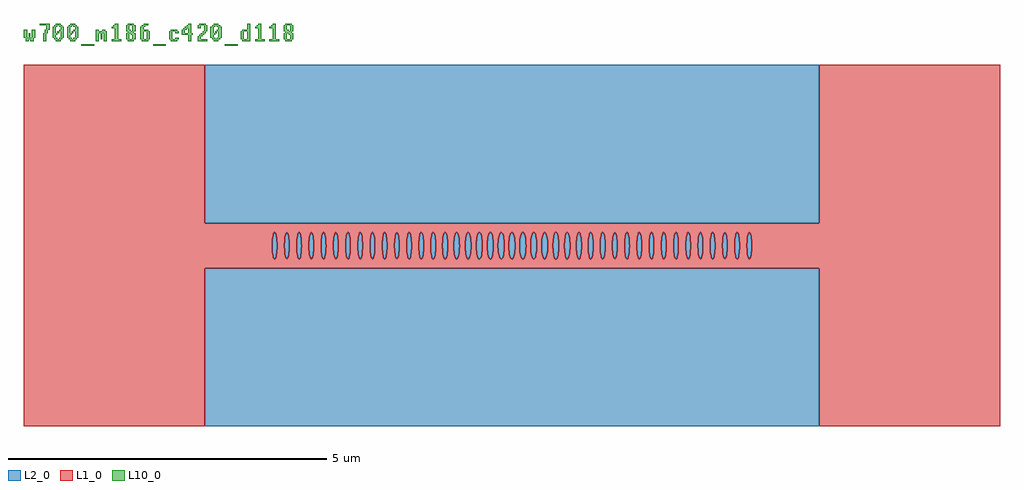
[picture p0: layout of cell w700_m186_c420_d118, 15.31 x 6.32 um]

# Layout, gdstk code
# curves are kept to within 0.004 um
import gdstk
lib = gdstk.Library(unit=1e-6, precision=1e-09)
def R(c, l, rs):  # rectangles x0, y0, x1, y1
    for r in rs: c.add(gdstk.rectangle(r[:2], r[2:], *l))
def A(c, l, x, y, w, h, nx, ny, dx, dy):  # array of equal rectangles
    R(c, l, [(x+i*dx, y+j*dy, x+i*dx+w, y+j*dy+h) for i in range(nx) for j in range(ny)])
def P(c, l, *ps):  # polygons
    for p in ps: c.add(gdstk.Polygon(p, *l))
L1_0 = (1, 0)
L2_0 = (2, 0)
L10_0 = (10, 0)

w700_m186_c420_d118 = lib.new_cell('w700_m186_c420_d118')
P(w700_m186_c420_d118, L1_0, [(-4.819,-2.835),(-4.819,-0.35),(-2.802,-0.35),(-2.802,0.35),(-4.819,0.35),(-4.819,2.835),(-7.654,2.835),(-7.654,-0.02),(-3.761,-0.02),(-3.76,0.059),(-3.748,0.159),(-3.735,0.198),(-3.721,0.21),(-3.707,0.191),(-3.695,0.145),(-3.684,-0.02),(-3.569,-0.02),(-3.568,0.059),(-3.556,0.159),(-3.544,0.198),(-3.529,0.21),(-3.515,0.191),(-3.503,0.145),(-3.493,-0.02),(-3.377,-0.02),(-3.376,0.059),(-3.364,0.159),(-3.352,0.198),(-3.337,0.21),(-3.323,0.191),(-3.311,0.145),(-3.301,-0.02),(-3.186,-0.02),(-3.182,0.096),(-3.173,0.159),(-3.16,0.198),(-3.146,0.21),(-3.138,0.204),(-3.125,0.171),(-3.115,0.114),(-3.109,-0.02),(-2.994,-0.02),(-2.99,0.096),(-2.981,0.159),(-2.961,0.208),(-2.954,0.21),(-2.94,0.191),(-2.923,0.114),(-2.917,-0.02),(-2.933,-0.171),(-2.954,-0.21),(-2.968,-0.198),(-2.981,-0.159),(-2.994,-0.02),(-3.109,-0.02),(-3.125,-0.171),(-3.138,-0.204),(-3.146,-0.21),(-3.16,-0.198),(-3.173,-0.159),(-3.186,-0.02),(-3.301,-0.02),(-3.311,-0.145),(-3.323,-0.191),(-3.337,-0.21),(-3.352,-0.198),(-3.364,-0.159),(-3.377,-0.02),(-3.493,-0.02),(-3.503,-0.145),(-3.515,-0.191),(-3.529,-0.21),(-3.544,-0.198),(-3.556,-0.159),(-3.569,-0.02),(-3.684,-0.02),(-3.695,-0.145),(-3.707,-0.191),(-3.721,-0.21),(-3.735,-0.198),(-3.748,-0.159),(-3.761,-0.02),(-7.654,-0.02),(-7.654,-2.835)],
  [(-1.842,0.059),(-1.839,0.35),(-2.802,0.35),(-2.802,0.02),(-2.789,0.159),(-2.776,0.198),(-2.762,0.21),(-2.748,0.191),(-2.736,0.145),(-2.725,-0.02),(-2.61,-0.02),(-2.609,0.059),(-2.597,0.159),(-2.585,0.198),(-2.57,0.21),(-2.556,0.191),(-2.544,0.145),(-2.534,-0.02),(-2.418,-0.02),(-2.417,0.059),(-2.405,0.159),(-2.393,0.198),(-2.378,0.21),(-2.364,0.191),(-2.352,0.145),(-2.342,-0.02),(-2.227,-0.02),(-2.223,0.096),(-2.214,0.159),(-2.201,0.198),(-2.187,0.21),(-2.179,0.204),(-2.166,0.171),(-2.156,0.114),(-2.15,-0.02),(-2.035,-0.02),(-2.031,0.096),(-2.022,0.159),(-2.009,0.198),(-1.995,0.21),(-1.981,0.191),(-1.969,0.145),(-1.958,0),(-1.969,-0.145),(-1.981,-0.191),(-1.995,-0.21),(-2.009,-0.198),(-2.022,-0.159),(-2.035,-0.02),(-2.15,-0.02),(-2.166,-0.171),(-2.179,-0.204),(-2.187,-0.21),(-2.201,-0.198),(-2.214,-0.159),(-2.227,-0.02),(-2.342,-0.02),(-2.352,-0.145),(-2.364,-0.191),(-2.378,-0.21),(-2.393,-0.198),(-2.405,-0.159),(-2.418,-0.02),(-2.534,-0.02),(-2.544,-0.145),(-2.556,-0.191),(-2.57,-0.21),(-2.585,-0.198),(-2.597,-0.159),(-2.61,-0.02),(-2.725,-0.02),(-2.742,-0.171),(-2.755,-0.204),(-2.769,-0.208),(-2.789,-0.159),(-2.802,-0.02),(-2.802,-0.35),(-1.839,-0.35)],
  [(-0.91,0.06),(-0.902,0.131),(-0.882,0.2),(-0.882,0.35),(-1.839,0.35),(-1.839,0.096),(-1.824,0.182),(-1.81,0.208),(-1.796,0.204),(-1.777,0.145),(-1.766,-0.02),(-1.652,-0.02),(-1.648,0.096),(-1.639,0.159),(-1.626,0.199),(-1.612,0.21),(-1.597,0.191),(-1.585,0.145),(-1.575,-0.02),(-1.462,-0.02),(-1.461,0.059),(-1.449,0.159),(-1.436,0.199),(-1.421,0.21),(-1.407,0.192),(-1.394,0.145),(-1.384,-0.02),(-1.276,-0.02),(-1.274,0.059),(-1.262,0.159),(-1.248,0.199),(-1.233,0.211),(-1.218,0.192),(-1.205,0.146),(-1.194,-0.02),(-1.092,-0.02),(-1.083,0.131),(-1.071,0.183),(-1.056,0.209),(-1.047,0.211),(-1.032,0.192),(-1.019,0.146),(-1.007,0),(-1.019,-0.146),(-1.032,-0.192),(-1.047,-0.211),(-1.063,-0.2),(-1.077,-0.16),(-1.092,-0.02),(-1.194,-0.02),(-1.205,-0.146),(-1.218,-0.192),(-1.233,-0.211),(-1.248,-0.199),(-1.262,-0.159),(-1.276,-0.02),(-1.384,-0.02),(-1.394,-0.145),(-1.407,-0.192),(-1.421,-0.21),(-1.436,-0.199),(-1.449,-0.159),(-1.462,-0.02),(-1.575,-0.02),(-1.585,-0.145),(-1.597,-0.191),(-1.612,-0.21),(-1.626,-0.199),(-1.639,-0.159),(-1.652,-0.02),(-1.766,-0.02),(-1.777,-0.145),(-1.796,-0.204),(-1.81,-0.208),(-1.824,-0.182),(-1.839,-0.096),(-1.839,-0.35),(-0.882,-0.35),(-0.882,-0.2),(-0.896,-0.16),(-0.907,-0.097)],
  [(-0.049,0.059),(-0.033,0.159),(-0.017,0.198),(0.002,0.21),(0.002,0.35),(-0.882,0.35),(-0.882,0.2),(-0.874,0.209),(-0.857,0.206),(-0.835,0.146),(-0.826,0.079),(-0.823,-0.02),(-0.734,-0.02),(-0.733,0.06),(-0.719,0.16),(-0.704,0.2),(-0.686,0.211),(-0.669,0.192),(-0.655,0.146),(-0.642,-0.02),(-0.561,-0.02),(-0.551,0.13),(-0.537,0.183),(-0.52,0.209),(-0.511,0.211),(-0.493,0.192),(-0.478,0.146),(-0.465,-0.02),(-0.389,-0.02),(-0.379,0.13),(-0.365,0.182),(-0.356,0.199),(-0.338,0.21),(-0.32,0.192),(-0.304,0.145),(-0.294,0.078),(-0.291,-0.02),(-0.22,-0.02),(-0.209,0.13),(-0.195,0.182),(-0.186,0.199),(-0.167,0.21),(-0.149,0.191),(-0.133,0.145),(-0.119,0),(-0.133,-0.145),(-0.149,-0.191),(-0.167,-0.21),(-0.186,-0.199),(-0.202,-0.159),(-0.22,-0.02),(-0.291,-0.02),(-0.304,-0.145),(-0.32,-0.192),(-0.338,-0.21),(-0.356,-0.199),(-0.372,-0.159),(-0.384,-0.096),(-0.389,-0.02),(-0.465,-0.02),(-0.478,-0.146),(-0.493,-0.192),(-0.511,-0.211),(-0.529,-0.199),(-0.544,-0.159),(-0.561,-0.02),(-0.642,-0.02),(-0.655,-0.146),(-0.669,-0.192),(-0.686,-0.211),(-0.704,-0.2),(-0.719,-0.16),(-0.734,-0.02),(-0.823,-0.02),(-0.83,-0.114),(-0.842,-0.172),(-0.857,-0.206),(-0.874,-0.209),(-0.882,-0.2),(-0.882,-0.35),(0.002,-0.35),(0.002,-0.21),(-0.017,-0.198),(-0.04,-0.13),(-0.049,-0.059)],
  [(0.825,0.06),(0.845,0.183),(0.853,0.2),(0.869,0.211),(0.886,0.192),(0.886,0.35),(0.002,0.35),(0.002,0.21),(0.021,0.191),(0.037,0.145),(0.047,0.078),(0.051,-0.02),(0.119,-0.02),(0.13,0.13),(0.144,0.182),(0.153,0.199),(0.172,0.21),(0.19,0.191),(0.206,0.145),(0.216,0.078),(0.22,-0.02),(0.291,-0.02),(0.301,0.13),(0.324,0.199),(0.342,0.21),(0.361,0.192),(0.376,0.145),(0.389,0.04),(0.389,-0.02),(0.465,-0.02),(0.475,0.13),(0.489,0.183),(0.506,0.209),(0.515,0.211),(0.533,0.192),(0.548,0.146),(0.561,-0.02),(0.643,-0.02),(0.644,0.06),(0.658,0.16),(0.673,0.2),(0.691,0.211),(0.708,0.192),(0.722,0.146),(0.735,0),(0.722,-0.146),(0.708,-0.192),(0.691,-0.211),(0.673,-0.2),(0.658,-0.16),(0.643,-0.02),(0.561,-0.02),(0.548,-0.146),(0.533,-0.192),(0.515,-0.211),(0.497,-0.199),(0.482,-0.159),(0.47,-0.097),(0.465,-0.02),(0.389,-0.02),(0.376,-0.145),(0.361,-0.192),(0.342,-0.21),(0.324,-0.199),(0.308,-0.159),(0.296,-0.096),(0.291,-0.02),(0.22,-0.02),(0.206,-0.145),(0.19,-0.191),(0.172,-0.21),(0.153,-0.199),(0.137,-0.159),(0.119,-0.02),(0.051,-0.02),(0.037,-0.145),(0.021,-0.191),(0.002,-0.21),(0.002,-0.35),(0.886,-0.35),(0.886,-0.192),(0.878,-0.206),(0.861,-0.209),(0.838,-0.16),(0.825,-0.06)],
  [(1.768,0.059),(1.78,0.159),(1.799,0.208),(1.807,0.21),(1.821,0.191),(1.837,0.114),(1.837,0.35),(0.886,0.35),(0.886,0.192),(0.905,0.114),(0.912,-0.02),(1.007,-0.02),(1.016,0.131),(1.028,0.183),(1.043,0.209),(1.052,0.211),(1.067,0.192),(1.08,0.146),(1.089,0.079),(1.092,-0.02),(1.194,-0.02),(1.196,0.059),(1.208,0.159),(1.222,0.199),(1.237,0.211),(1.252,0.192),(1.264,0.146),(1.273,0.078),(1.276,-0.02),(1.384,-0.02),(1.385,0.059),(1.397,0.159),(1.41,0.199),(1.425,0.21),(1.439,0.192),(1.452,0.145),(1.463,-0.02),(1.575,-0.02),(1.576,0.059),(1.588,0.159),(1.601,0.199),(1.615,0.21),(1.629,0.191),(1.641,0.145),(1.652,0),(1.641,-0.145),(1.629,-0.191),(1.615,-0.21),(1.601,-0.199),(1.588,-0.159),(1.575,-0.02),(1.463,-0.02),(1.452,-0.145),(1.439,-0.192),(1.425,-0.21),(1.41,-0.199),(1.397,-0.159),(1.384,-0.02),(1.276,-0.02),(1.259,-0.172),(1.237,-0.211),(1.222,-0.199),(1.208,-0.159),(1.194,-0.02),(1.092,-0.02),(1.08,-0.146),(1.067,-0.192),(1.052,-0.211),(1.036,-0.2),(1.022,-0.16),(1.007,-0.02),(0.912,-0.02),(0.905,-0.114),(0.886,-0.192),(0.886,-0.35),(1.837,-0.35),(1.837,-0.114),(1.821,-0.191),(1.807,-0.21),(1.792,-0.198),(1.771,-0.096)],
  [(2.727,0.059),(2.739,0.159),(2.751,0.198),(2.766,0.21),(2.78,0.191),(2.792,0.145),(2.801,0.04),(2.801,0.35),(1.837,0.35),(1.843,-0.02),(1.958,-0.02),(1.966,0.13),(1.977,0.182),(1.991,0.208),(1.998,0.21),(2.013,0.191),(2.029,0.114),(2.035,-0.02),(2.15,-0.02),(2.154,0.096),(2.163,0.159),(2.176,0.198),(2.19,0.21),(2.211,0.171),(2.221,0.114),(2.227,-0.02),(2.342,-0.02),(2.343,0.059),(2.355,0.159),(2.368,0.198),(2.382,0.21),(2.396,0.191),(2.413,0.114),(2.419,-0.02),(2.534,-0.02),(2.542,0.13),(2.553,0.182),(2.567,0.208),(2.581,0.204),(2.594,0.171),(2.61,0.04),(2.608,-0.078),(2.6,-0.145),(2.588,-0.191),(2.574,-0.21),(2.559,-0.198),(2.547,-0.159),(2.534,-0.02),(2.419,-0.02),(2.408,-0.145),(2.396,-0.191),(2.382,-0.21),(2.368,-0.198),(2.355,-0.159),(2.342,-0.02),(2.227,-0.02),(2.211,-0.171),(2.19,-0.21),(2.176,-0.198),(2.163,-0.159),(2.15,-0.02),(2.035,-0.02),(2.019,-0.171),(2.013,-0.191),(1.998,-0.21),(1.984,-0.198),(1.972,-0.159),(1.958,-0.02),(1.843,-0.02),(1.837,-0.114),(1.837,-0.35),(2.801,-0.35),(2.801,-0.04),(2.786,-0.171),(2.773,-0.204),(2.758,-0.208),(2.739,-0.159),(2.73,-0.096)],
  [(2.801,-0.35),(4.819,-0.35),(4.819,-2.835),(7.654,-2.835),(7.654,2.835),(4.819,2.835),(4.819,0.35),(2.801,0.35),(2.802,-0.02),(2.917,-0.02),(2.925,0.13),(2.936,0.182),(2.95,0.208),(2.957,0.21),(2.972,0.191),(2.988,0.114),(2.994,-0.02),(3.109,-0.02),(3.113,0.096),(3.122,0.159),(3.135,0.198),(3.149,0.21),(3.17,0.171),(3.18,0.114),(3.186,-0.02),(3.301,-0.02),(3.302,0.059),(3.314,0.159),(3.327,0.198),(3.341,0.21),(3.355,0.191),(3.372,0.114),(3.378,-0.02),(3.493,-0.02),(3.494,0.059),(3.506,0.159),(3.518,0.198),(3.533,0.21),(3.547,0.191),(3.559,0.145),(3.569,-0.02),(3.685,-0.02),(3.686,0.059),(3.698,0.159),(3.71,0.198),(3.725,0.21),(3.739,0.191),(3.751,0.145),(3.761,0),(3.751,-0.145),(3.739,-0.191),(3.725,-0.21),(3.71,-0.198),(3.698,-0.159),(3.685,-0.02),(3.569,-0.02),(3.559,-0.145),(3.547,-0.191),(3.533,-0.21),(3.518,-0.198),(3.506,-0.159),(3.493,-0.02),(3.378,-0.02),(3.367,-0.145),(3.355,-0.191),(3.341,-0.21),(3.327,-0.198),(3.314,-0.159),(3.301,-0.02),(3.186,-0.02),(3.17,-0.171),(3.149,-0.21),(3.135,-0.198),(3.122,-0.159),(3.109,-0.02),(2.994,-0.02),(2.978,-0.171),(2.972,-0.191),(2.957,-0.21),(2.943,-0.198),(2.931,-0.159),(2.917,-0.02),(2.802,-0.02)])
R(w700_m186_c420_d118, L2_0, [(-4.819,-2.835,4.819,-0.35), (-4.819,0.35,4.819,2.835)])
P(w700_m186_c420_d118, L2_0, [(2.73,-0.096),(2.739,-0.159),(2.758,-0.208),(2.766,-0.21),(2.78,-0.191),(2.796,-0.114),(2.802,-0.02),(2.796,0.114),(2.78,0.191),(2.766,0.21),(2.751,0.198),(2.734,0.13),(2.726,0.02)],
  [(-3.565,-0.096),(-3.55,-0.182),(-3.544,-0.198),(-3.529,-0.21),(-3.515,-0.191),(-3.499,-0.114),(-3.493,-0.04),(-3.495,0.078),(-3.509,0.171),(-3.529,0.21),(-3.544,0.198),(-3.561,0.13),(-3.569,0.02)],
  [(3.497,-0.096),(3.512,-0.182),(3.518,-0.198),(3.533,-0.21),(3.547,-0.191),(3.563,-0.114),(3.569,-0.04),(3.567,0.078),(3.553,0.171),(3.533,0.21),(3.518,0.198),(3.501,0.13),(3.493,0.02)],
  [(3.377,0.04),(3.367,0.145),(3.348,0.204),(3.341,0.21),(3.327,0.198),(3.309,0.13),(3.301,0.02),(3.305,-0.096),(3.32,-0.182),(3.334,-0.208),(3.341,-0.21),(3.355,-0.191),(3.372,-0.114)],
  [(3.185,0.04),(3.175,0.145),(3.156,0.204),(3.149,0.21),(3.135,0.198),(3.117,0.13),(3.109,0.02),(3.113,-0.096),(3.128,-0.182),(3.142,-0.208),(3.149,-0.21),(3.17,-0.171),(3.18,-0.114)],
  [(2.993,0.04),(2.983,0.145),(2.965,0.204),(2.957,0.21),(2.943,0.198),(2.925,0.13),(2.917,0.02),(2.925,-0.13),(2.936,-0.182),(2.95,-0.208),(2.957,-0.21),(2.972,-0.191),(2.988,-0.114)],
  [(-3.685,0.04),(-3.695,0.145),(-3.714,0.204),(-3.721,0.21),(-3.735,0.198),(-3.753,0.13),(-3.761,0.02),(-3.757,-0.096),(-3.742,-0.182),(-3.728,-0.208),(-3.721,-0.21),(-3.707,-0.191),(-3.695,-0.145),(-3.687,-0.078)],
  [(2.608,0.078),(2.594,0.171),(2.574,0.21),(2.559,0.198),(2.542,0.13),(2.534,0.02),(2.538,-0.096),(2.553,-0.182),(2.559,-0.198),(2.574,-0.21),(2.588,-0.191),(2.604,-0.114),(2.61,-0.04)],
  [(2.418,0.04),(2.408,0.145),(2.389,0.204),(2.382,0.21),(2.368,0.198),(2.35,0.13),(2.342,0.02),(2.346,-0.096),(2.361,-0.182),(2.375,-0.208),(2.382,-0.21),(2.396,-0.191),(2.413,-0.114)],
  [(2.226,0.04),(2.216,0.145),(2.197,0.204),(2.19,0.21),(2.176,0.198),(2.158,0.13),(2.15,0.02),(2.154,-0.096),(2.169,-0.182),(2.183,-0.208),(2.19,-0.21),(2.211,-0.171),(2.221,-0.114)],
  [(2.034,0.04),(2.024,0.145),(2.006,0.204),(1.998,0.21),(1.984,0.198),(1.966,0.13),(1.958,0.02),(1.966,-0.13),(1.977,-0.182),(1.991,-0.208),(1.998,-0.21),(2.013,-0.191),(2.029,-0.114)],
  [(1.842,0.04),(1.833,0.145),(1.814,0.204),(1.799,0.208),(1.792,0.198),(1.775,0.13),(1.767,0.02),(1.771,-0.096),(1.786,-0.182),(1.799,-0.208),(1.807,-0.21),(1.821,-0.191),(1.833,-0.145)],
  [(1.651,0.04),(1.641,0.145),(1.622,0.204),(1.615,0.21),(1.601,0.199),(1.583,0.13),(1.575,0.02),(1.579,-0.096),(1.594,-0.182),(1.601,-0.199),(1.615,-0.21),(1.636,-0.171),(1.646,-0.114)],
  [(1.462,0.04),(1.452,0.145),(1.432,0.205),(1.417,0.208),(1.41,0.199),(1.392,0.13),(1.384,0.02),(1.388,-0.096),(1.403,-0.182),(1.417,-0.208),(1.425,-0.21),(1.439,-0.192),(1.452,-0.145),(1.46,-0.078)],
  [(1.275,0.04),(1.264,0.146),(1.244,0.205),(1.229,0.209),(1.222,0.199),(1.203,0.13),(1.194,0.02),(1.199,-0.097),(1.214,-0.183),(1.229,-0.209),(1.237,-0.211),(1.259,-0.172),(1.269,-0.114)],
  [(1.091,0.04),(1.08,0.146),(1.059,0.205),(1.052,0.211),(1.036,0.2),(1.016,0.131),(1.007,0.02),(1.012,-0.097),(1.028,-0.183),(1.043,-0.209),(1.052,-0.211),(1.074,-0.172),(1.085,-0.114)],
  [(0.911,0.04),(0.899,0.146),(0.878,0.206),(0.869,0.211),(0.853,0.2),(0.833,0.131),(0.823,0.02),(0.828,-0.097),(0.845,-0.183),(0.853,-0.2),(0.869,-0.211),(0.886,-0.192),(0.905,-0.114)],
  [(0.734,0.04),(0.722,0.146),(0.699,0.205),(0.691,0.211),(0.673,0.2),(0.652,0.131),(0.643,0.02),(0.648,-0.097),(0.666,-0.183),(0.673,-0.2),(0.691,-0.211),(0.708,-0.192),(0.722,-0.146),(0.734,-0.04)],
  [(0.56,0.04),(0.548,0.146),(0.524,0.205),(0.515,0.211),(0.497,0.199),(0.475,0.13),(0.465,0.02),(0.47,-0.097),(0.489,-0.183),(0.506,-0.209),(0.515,-0.211),(0.533,-0.192),(0.548,-0.146),(0.56,-0.04)],
  [(0.386,0.078),(0.369,0.172),(0.352,0.205),(0.342,0.21),(0.324,0.199),(0.301,0.13),(0.291,0.02),(0.296,-0.096),(0.316,-0.182),(0.324,-0.199),(0.342,-0.21),(0.361,-0.192),(0.382,-0.114),(0.389,-0.04)],
  [(0.219,0.04),(0.206,0.145),(0.181,0.204),(0.172,0.21),(0.153,0.199),(0.13,0.13),(0.119,0.02),(0.121,-0.059),(0.137,-0.159),(0.144,-0.182),(0.162,-0.208),(0.172,-0.21),(0.181,-0.204),(0.206,-0.145),(0.219,-0.04)],
  [(0.05,0.04),(0.037,0.145),(0.012,0.204),(0.002,0.21),(-0.017,0.198),(-0.04,0.13),(-0.05,0.02),(-0.045,-0.096),(-0.025,-0.182),(-0.017,-0.198),(0.002,-0.21),(0.021,-0.191),(0.043,-0.114)],
  [(-0.12,0.04),(-0.133,0.145),(-0.158,0.204),(-0.167,0.21),(-0.186,0.199),(-0.209,0.13),(-0.22,0.02),(-0.218,-0.059),(-0.202,-0.159),(-0.195,-0.182),(-0.177,-0.208),(-0.167,-0.21),(-0.158,-0.204),(-0.133,-0.145),(-0.12,-0.04)],
  [(-0.292,0.04),(-0.304,0.145),(-0.329,0.205),(-0.338,0.21),(-0.356,0.199),(-0.379,0.13),(-0.389,0.02),(-0.384,-0.096),(-0.365,-0.182),(-0.356,-0.199),(-0.338,-0.21),(-0.32,-0.192),(-0.304,-0.145),(-0.294,-0.078)],
  [(-0.466,0.04),(-0.478,0.146),(-0.502,0.205),(-0.511,0.211),(-0.529,0.199),(-0.551,0.13),(-0.561,0.02),(-0.555,-0.097),(-0.537,-0.183),(-0.52,-0.209),(-0.511,-0.211),(-0.493,-0.192),(-0.478,-0.146),(-0.466,-0.04)],
  [(-0.643,0.04),(-0.655,0.146),(-0.678,0.205),(-0.686,0.211),(-0.704,0.2),(-0.725,0.131),(-0.734,0.02),(-0.729,-0.097),(-0.712,-0.183),(-0.704,-0.2),(-0.686,-0.211),(-0.669,-0.192),(-0.655,-0.146),(-0.643,-0.04)],
  [(-0.824,0.04),(-0.835,0.146),(-0.857,0.206),(-0.874,0.209),(-0.882,0.2),(-0.902,0.131),(-0.911,0.02),(-0.907,-0.097),(-0.889,-0.183),(-0.882,-0.2),(-0.865,-0.211),(-0.849,-0.192),(-0.835,-0.146),(-0.826,-0.079)],
  [(-1.008,0.04),(-1.019,0.146),(-1.039,0.205),(-1.047,0.211),(-1.063,0.2),(-1.083,0.131),(-1.092,0.02),(-1.087,-0.097),(-1.071,-0.183),(-1.056,-0.209),(-1.047,-0.211),(-1.039,-0.205),(-1.025,-0.172),(-1.014,-0.114)],
  [(-1.195,0.04),(-1.205,0.146),(-1.225,0.205),(-1.241,0.209),(-1.248,0.199),(-1.267,0.13),(-1.276,0.02),(-1.271,-0.097),(-1.255,-0.183),(-1.241,-0.209),(-1.233,-0.211),(-1.218,-0.192),(-1.205,-0.146),(-1.197,-0.078)],
  [(-1.386,0.078),(-1.394,0.145),(-1.414,0.205),(-1.429,0.208),(-1.436,0.199),(-1.454,0.13),(-1.462,0.02),(-1.458,-0.096),(-1.443,-0.182),(-1.429,-0.208),(-1.421,-0.21),(-1.4,-0.172),(-1.39,-0.114),(-1.384,-0.04)],
  [(-1.577,0.078),(-1.585,0.145),(-1.604,0.204),(-1.612,0.21),(-1.626,0.199),(-1.644,0.13),(-1.652,0.02),(-1.648,-0.096),(-1.633,-0.182),(-1.626,-0.199),(-1.612,-0.21),(-1.597,-0.191),(-1.581,-0.114),(-1.575,-0.04)],
  [(-1.767,0.04),(-1.777,0.145),(-1.796,0.204),(-1.803,0.21),(-1.817,0.198),(-1.835,0.13),(-1.843,0.02),(-1.839,-0.096),(-1.824,-0.182),(-1.81,-0.208),(-1.803,-0.21),(-1.789,-0.191),(-1.777,-0.145),(-1.769,-0.078)],
  [(-1.959,0.04),(-1.969,0.145),(-1.988,0.204),(-1.995,0.21),(-2.009,0.198),(-2.027,0.13),(-2.035,0.02),(-2.031,-0.096),(-2.016,-0.182),(-2.002,-0.208),(-1.995,-0.21),(-1.974,-0.171),(-1.964,-0.114)],
  [(-2.151,0.04),(-2.161,0.145),(-2.179,0.204),(-2.187,0.21),(-2.201,0.198),(-2.219,0.13),(-2.227,0.02),(-2.223,-0.096),(-2.208,-0.182),(-2.194,-0.208),(-2.187,-0.21),(-2.179,-0.204),(-2.166,-0.171),(-2.156,-0.114)],
  [(-2.343,0.04),(-2.352,0.145),(-2.371,0.204),(-2.386,0.208),(-2.393,0.198),(-2.41,0.13),(-2.418,0.02),(-2.414,-0.096),(-2.399,-0.182),(-2.386,-0.208),(-2.378,-0.21),(-2.364,-0.191),(-2.352,-0.145)],
  [(-2.536,0.078),(-2.55,0.171),(-2.57,0.21),(-2.585,0.198),(-2.602,0.13),(-2.61,0.02),(-2.606,-0.096),(-2.591,-0.182),(-2.585,-0.198),(-2.57,-0.21),(-2.556,-0.191),(-2.54,-0.114),(-2.534,-0.04)],
  [(-2.726,0.04),(-2.736,0.145),(-2.755,0.204),(-2.762,0.21),(-2.776,0.198),(-2.794,0.13),(-2.802,0.02),(-2.798,-0.096),(-2.783,-0.182),(-2.769,-0.208),(-2.762,-0.21),(-2.748,-0.191),(-2.736,-0.145),(-2.728,-0.078)],
  [(-2.918,0.04),(-2.928,0.145),(-2.947,0.204),(-2.954,0.21),(-2.968,0.198),(-2.986,0.13),(-2.994,0.02),(-2.99,-0.096),(-2.975,-0.182),(-2.961,-0.208),(-2.954,-0.21),(-2.933,-0.171),(-2.923,-0.114)],
  [(-3.11,0.04),(-3.12,0.145),(-3.138,0.204),(-3.146,0.21),(-3.16,0.198),(-3.178,0.13),(-3.186,0.02),(-3.182,-0.096),(-3.167,-0.182),(-3.153,-0.208),(-3.146,-0.21),(-3.138,-0.204),(-3.125,-0.171),(-3.115,-0.114)],
  [(-3.302,0.04),(-3.311,0.145),(-3.33,0.204),(-3.345,0.208),(-3.352,0.198),(-3.369,0.13),(-3.377,0.02),(-3.373,-0.096),(-3.358,-0.182),(-3.345,-0.208),(-3.337,-0.21),(-3.323,-0.191),(-3.311,-0.145)],
  [(3.689,-0.096),(3.698,-0.159),(3.717,-0.208),(3.725,-0.21),(3.739,-0.191),(3.755,-0.114),(3.761,0),(3.755,0.114),(3.739,0.191),(3.725,0.21),(3.71,0.198),(3.693,0.13),(3.685,0.02)])
A(w700_m186_c420_d118, L10_0, -6.754, 3.135, 0.2, 0.025, 3, 1, 1.125, 0)
R(w700_m186_c420_d118, L10_0, [(-7.129,3.335,-7.104,3.36), (-6.904,3.335,-6.879,3.36), (-4.654,3.335,-4.629,3.36)])
P(w700_m186_c420_d118, L10_0, [(-7.629,3.26),(-7.629,3.21),(-7.579,3.21),(-7.579,3.235),(-7.554,3.235),(-7.554,3.21),(-7.504,3.21),(-7.504,3.26),(-7.479,3.26),(-7.479,3.385),(-7.529,3.385),(-7.529,3.26),(-7.554,3.26),(-7.554,3.335),(-7.579,3.335),(-7.579,3.26),(-7.604,3.26),(-7.604,3.385),(-7.654,3.385),(-7.654,3.26)],
  [(-7.304,3.385),(-7.329,3.385),(-7.329,3.335),(-7.354,3.335),(-7.354,3.21),(-7.304,3.21),(-7.304,3.335),(-7.279,3.335),(-7.279,3.385),(-7.254,3.385),(-7.254,3.485),(-7.404,3.485),(-7.404,3.46),(-7.304,3.46)],
  [(-7.054,3.26),(-7.029,3.26),(-7.029,3.435),(-7.054,3.435),(-7.054,3.46),(-7.079,3.46),(-7.079,3.485),(-7.154,3.485),(-7.154,3.46),(-7.179,3.46),(-7.179,3.435),(-7.204,3.435),(-7.204,3.26),(-7.154,3.26),(-7.154,3.31),(-7.129,3.31),(-7.129,3.335),(-7.154,3.335),(-7.154,3.435),(-7.129,3.435),(-7.129,3.46),(-7.104,3.46),(-7.104,3.435),(-7.079,3.435),(-7.079,3.385),(-7.104,3.385),(-7.104,3.36),(-7.079,3.36),(-7.079,3.26),(-7.104,3.26),(-7.104,3.235),(-7.129,3.235),(-7.129,3.26),(-7.154,3.26),(-7.204,3.26),(-7.179,3.26),(-7.179,3.235),(-7.154,3.235),(-7.154,3.21),(-7.079,3.21),(-7.079,3.235),(-7.054,3.235)],
  [(-6.829,3.26),(-6.804,3.26),(-6.804,3.435),(-6.829,3.435),(-6.829,3.46),(-6.854,3.46),(-6.854,3.485),(-6.929,3.485),(-6.929,3.46),(-6.954,3.46),(-6.954,3.435),(-6.979,3.435),(-6.979,3.26),(-6.929,3.26),(-6.929,3.31),(-6.904,3.31),(-6.904,3.335),(-6.929,3.335),(-6.929,3.435),(-6.904,3.435),(-6.904,3.46),(-6.879,3.46),(-6.879,3.435),(-6.854,3.435),(-6.854,3.385),(-6.879,3.385),(-6.879,3.36),(-6.854,3.36),(-6.854,3.26),(-6.879,3.26),(-6.879,3.235),(-6.904,3.235),(-6.904,3.26),(-6.929,3.26),(-6.979,3.26),(-6.954,3.26),(-6.954,3.235),(-6.929,3.235),(-6.929,3.21),(-6.854,3.21),(-6.854,3.235),(-6.829,3.235)],
  [(-6.479,3.21),(-6.479,3.335),(-6.454,3.335),(-6.454,3.235),(-6.429,3.235),(-6.429,3.335),(-6.404,3.335),(-6.404,3.21),(-6.354,3.21),(-6.354,3.36),(-6.379,3.36),(-6.379,3.385),(-6.429,3.385),(-6.429,3.36),(-6.479,3.36),(-6.479,3.385),(-6.529,3.385),(-6.529,3.21)],
  [(-6.254,3.435),(-6.279,3.435),(-6.279,3.41),(-6.229,3.41),(-6.229,3.235),(-6.279,3.235),(-6.279,3.21),(-6.129,3.21),(-6.129,3.235),(-6.179,3.235),(-6.179,3.485),(-6.229,3.485),(-6.229,3.46),(-6.254,3.46)],
  [(-5.904,3.335),(-5.929,3.335),(-5.929,3.36),(-5.904,3.36),(-5.904,3.46),(-5.929,3.46),(-5.929,3.485),(-6.029,3.485),(-6.029,3.46),(-6.054,3.46),(-6.054,3.385),(-6.004,3.385),(-6.004,3.46),(-5.954,3.46),(-5.954,3.36),(-5.979,3.36),(-5.979,3.385),(-6.004,3.385),(-6.054,3.385),(-6.054,3.36),(-6.029,3.36),(-6.029,3.335),(-6.054,3.335),(-6.054,3.235),(-6.004,3.235),(-6.004,3.335),(-5.979,3.335),(-5.979,3.31),(-5.954,3.31),(-5.954,3.235),(-6.004,3.235),(-6.054,3.235),(-6.029,3.235),(-6.029,3.21),(-5.929,3.21),(-5.929,3.235),(-5.904,3.235)],
  [(-5.679,3.36),(-5.704,3.36),(-5.704,3.385),(-5.779,3.385),(-5.779,3.435),(-5.754,3.435),(-5.754,3.46),(-5.704,3.46),(-5.704,3.485),(-5.779,3.485),(-5.779,3.46),(-5.804,3.46),(-5.804,3.435),(-5.829,3.435),(-5.829,3.235),(-5.779,3.235),(-5.779,3.36),(-5.729,3.36),(-5.729,3.235),(-5.779,3.235),(-5.829,3.235),(-5.804,3.235),(-5.804,3.21),(-5.704,3.21),(-5.704,3.235),(-5.679,3.235)],
  [(-5.379,3.235),(-5.354,3.235),(-5.354,3.21),(-5.254,3.21),(-5.254,3.235),(-5.229,3.235),(-5.229,3.26),(-5.279,3.26),(-5.279,3.235),(-5.329,3.235),(-5.329,3.36),(-5.279,3.36),(-5.279,3.335),(-5.229,3.335),(-5.229,3.36),(-5.254,3.36),(-5.254,3.385),(-5.354,3.385),(-5.354,3.36),(-5.379,3.36)],
  [(-5.029,3.21),(-5.029,3.31),(-5.004,3.31),(-5.004,3.335),(-5.029,3.335),(-5.029,3.485),(-5.079,3.485),(-5.079,3.46),(-5.104,3.46),(-5.104,3.435),(-5.129,3.435),(-5.129,3.41),(-5.154,3.41),(-5.154,3.385),(-5.179,3.385),(-5.179,3.335),(-5.129,3.335),(-5.129,3.385),(-5.104,3.385),(-5.104,3.41),(-5.079,3.41),(-5.079,3.335),(-5.129,3.335),(-5.179,3.335),(-5.179,3.31),(-5.079,3.31),(-5.079,3.21)],
  [(-4.929,3.41),(-4.879,3.41),(-4.879,3.46),(-4.829,3.46),(-4.829,3.36),(-4.854,3.36),(-4.854,3.335),(-4.879,3.335),(-4.879,3.31),(-4.904,3.31),(-4.904,3.285),(-4.929,3.285),(-4.929,3.21),(-4.779,3.21),(-4.779,3.235),(-4.879,3.235),(-4.879,3.285),(-4.854,3.285),(-4.854,3.31),(-4.829,3.31),(-4.829,3.335),(-4.804,3.335),(-4.804,3.36),(-4.779,3.36),(-4.779,3.46),(-4.804,3.46),(-4.804,3.485),(-4.904,3.485),(-4.904,3.46),(-4.929,3.46)],
  [(-4.579,3.26),(-4.554,3.26),(-4.554,3.435),(-4.579,3.435),(-4.579,3.46),(-4.604,3.46),(-4.604,3.485),(-4.679,3.485),(-4.679,3.46),(-4.704,3.46),(-4.704,3.435),(-4.729,3.435),(-4.729,3.26),(-4.679,3.26),(-4.679,3.31),(-4.654,3.31),(-4.654,3.335),(-4.679,3.335),(-4.679,3.435),(-4.654,3.435),(-4.654,3.46),(-4.629,3.46),(-4.629,3.435),(-4.604,3.435),(-4.604,3.385),(-4.629,3.385),(-4.629,3.36),(-4.604,3.36),(-4.604,3.26),(-4.629,3.26),(-4.629,3.235),(-4.654,3.235),(-4.654,3.26),(-4.679,3.26),(-4.729,3.26),(-4.704,3.26),(-4.704,3.235),(-4.679,3.235),(-4.679,3.21),(-4.604,3.21),(-4.604,3.235),(-4.579,3.235)],
  [(-4.154,3.485),(-4.154,3.385),(-4.229,3.385),(-4.229,3.36),(-4.254,3.36),(-4.254,3.235),(-4.204,3.235),(-4.204,3.36),(-4.154,3.36),(-4.154,3.235),(-4.204,3.235),(-4.254,3.235),(-4.229,3.235),(-4.229,3.21),(-4.104,3.21),(-4.104,3.485)],
  [(-4.004,3.435),(-4.029,3.435),(-4.029,3.41),(-3.979,3.41),(-3.979,3.235),(-4.029,3.235),(-4.029,3.21),(-3.879,3.21),(-3.879,3.235),(-3.929,3.235),(-3.929,3.485),(-3.979,3.485),(-3.979,3.46),(-4.004,3.46)],
  [(-3.779,3.435),(-3.804,3.435),(-3.804,3.41),(-3.754,3.41),(-3.754,3.235),(-3.804,3.235),(-3.804,3.21),(-3.654,3.21),(-3.654,3.235),(-3.704,3.235),(-3.704,3.485),(-3.754,3.485),(-3.754,3.46),(-3.779,3.46)],
  [(-3.429,3.335),(-3.454,3.335),(-3.454,3.36),(-3.429,3.36),(-3.429,3.46),(-3.454,3.46),(-3.454,3.485),(-3.554,3.485),(-3.554,3.46),(-3.579,3.46),(-3.579,3.385),(-3.529,3.385),(-3.529,3.46),(-3.479,3.46),(-3.479,3.36),(-3.504,3.36),(-3.504,3.385),(-3.529,3.385),(-3.579,3.385),(-3.579,3.36),(-3.554,3.36),(-3.554,3.335),(-3.579,3.335),(-3.579,3.235),(-3.529,3.235),(-3.529,3.335),(-3.504,3.335),(-3.504,3.31),(-3.479,3.31),(-3.479,3.235),(-3.529,3.235),(-3.579,3.235),(-3.554,3.235),(-3.554,3.21),(-3.454,3.21),(-3.454,3.235),(-3.429,3.235)])

lib.write_gds('w700_m186_c420_d118.gds')
